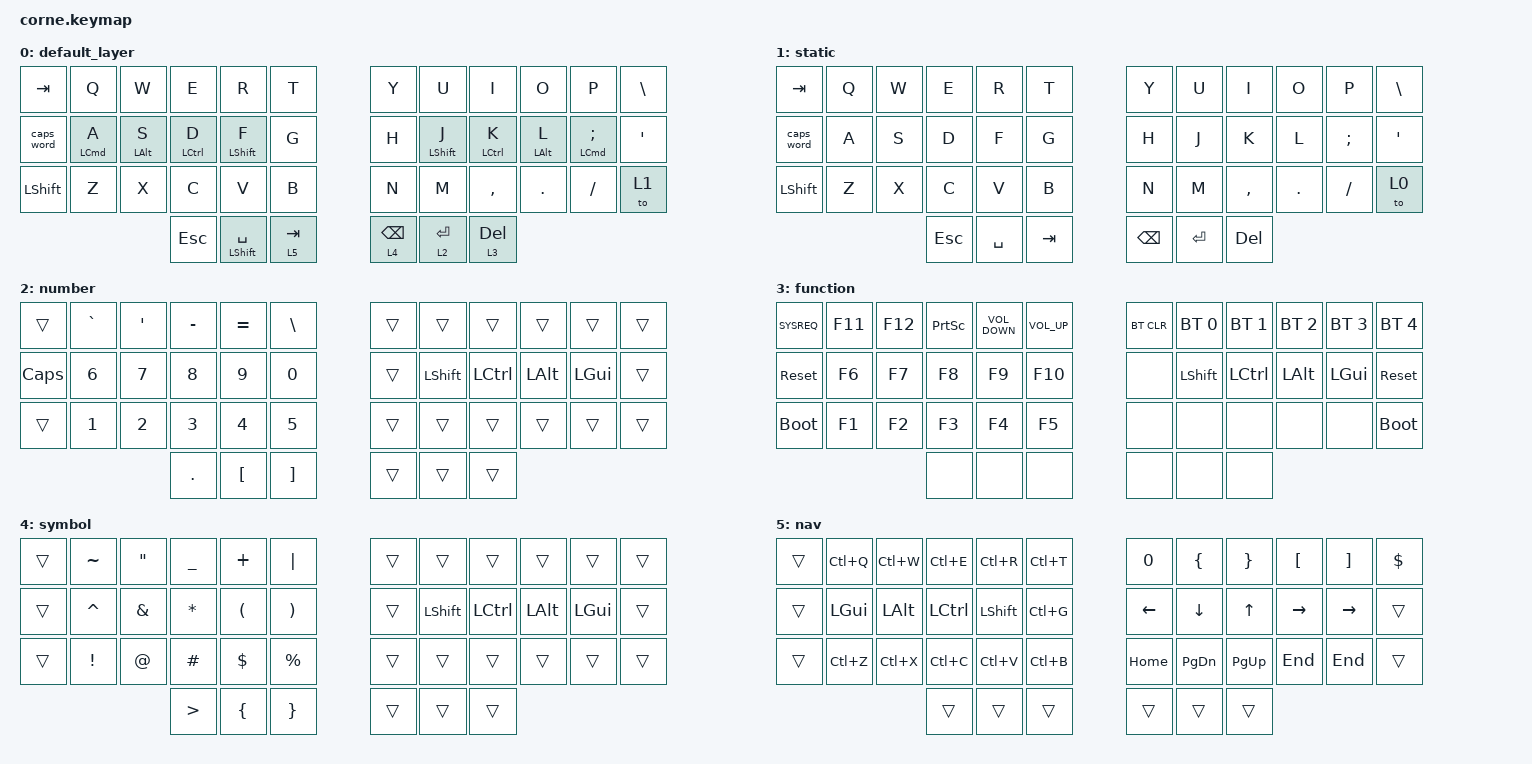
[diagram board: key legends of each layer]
/*
 * Copyright (c) 2020 The ZMK Contributors
 *
 * SPDX-License-Identifier: MIT
 */

#include <behaviors.dtsi>
#include <dt-bindings/zmk/bt.h>
#include <dt-bindings/zmk/keys.h>

/ {
    behaviors {
        hm: hm {
            compatible = "zmk,behavior-hold-tap";
            label = "HM";
            #binding-cells = <2>;
            bindings = <&kp>, <&kp>;

            tapping-term-ms = <200>;
            quick-tap-ms = <175>;
            require-prior-idle-ms = <150>;
            flavor = "balanced";
            hold-trigger-on-release;
        };
    };

    keymap {
        compatible = "zmk,keymap";

        default_layer {
            bindings = <
&kp TAB     &kp Q       &kp W           &kp E        &kp R            &kp T        &kp Y            &kp U        &kp I         &kp O           &kp P          &kp BACKSLASH
&caps_word  &hm LCMD A  &hm LEFT_ALT S  &hm LCTRL D  &hm LSHFT F      &kp G        &kp H            &hm LSHFT J  &hm LCTRL K   &hm LEFT_ALT L  &hm LCMD SEMI  &kp SQT
&kp LSHFT   &kp Z       &kp X           &kp C        &kp V            &kp B        &kp N            &kp M        &kp COMMA     &kp DOT         &kp FSLH       &to 1
                                        &kp ESCAPE   &hm LSHFT SPACE  &lt 5 TAB    &lt 4 BACKSPACE  &lt 2 ENTER  &lt 3 DELETE
            >;
        };

        static {
            bindings = <
&kp TAB     &kp Q  &kp W  &kp E       &kp R      &kp T      &kp Y          &kp U      &kp I       &kp O    &kp P     &kp BACKSLASH
&caps_word  &kp A  &kp S  &kp D       &kp F      &kp G      &kp H          &kp J      &kp K       &kp L    &kp SEMI  &kp SQT
&kp LSHFT   &kp Z  &kp X  &kp C       &kp V      &kp B      &kp N          &kp M      &kp COMMA   &kp DOT  &kp FSLH  &to 0
                          &kp ESCAPE  &kp SPACE  &kp TAB    &kp BACKSPACE  &kp ENTER  &kp DELETE
            >;
        };

        number {
            // -----------------------------------------------------------------------------------------
            // |  TAB |  1   |  2  |  3  |  4  |  5  |   |  6  |  7  |  8  |  9  |  0  | BKSP |
            // | BTCLR| BT1  | BT2 | BT3 | BT4 | BT5 |   | LFT | DWN |  UP | RGT |     |      |
            // | SHFT | BOOT |     |     |     |     |   |     |     |     |     |     | BOOT |
            //                    | GUI |     | SPC |   | ENT |     | ALT |

            bindings = <
&trans    &kp GRAVE  &kp SQT  &kp MINUS  &kp EQUAL  &kp BSLH    &trans  &trans     &trans     &trans    &trans    &trans
&kp CAPS  &kp N6     &kp N7   &kp N8     &kp N9     &kp N0      &trans  &kp LSHFT  &kp LCTRL  &kp LALT  &kp LGUI  &trans
&trans    &kp N1     &kp N2   &kp N3     &kp N4     &kp N5      &trans  &trans     &trans     &trans    &trans    &trans
                              &kp DOT    &kp LBKT   &kp RBKT    &trans  &trans     &trans
            >;
        };

        function {
            // -----------------------------------------------------------------------------------------
            // |  TAB |  !   |  @  |  #  |  $  |  %  |   |  ^  |  &  |  *  |  (  |  )  | BKSP |
            // | CTRL |      |     |     |     |     |   |  -  |  =  |  [  |  ]  |  \  |  `   |
            // | SHFT | BOOT |     |     |     |     |   |  _  |  +  |  {  |  }  | "|" | BOOT |
            //                    | GUI |     | SPC |   | ENT |     | ALT |

            bindings = <
&kp SYSREQ   &kp F11  &kp F12  &kp PRINTSCREEN  &kp C_VOLUME_DOWN  &kp C_VOLUME_UP    &bt BT_CLR  &bt BT_SEL 0  &bt BT_SEL 1  &bt BT_SEL 2  &bt BT_SEL 3  &bt BT_SEL 4
&sys_reset   &kp F6   &kp F7   &kp F8           &kp F9             &kp F10            &none       &kp LSHFT     &kp LCTRL     &kp LALT      &kp LGUI      &sys_reset
&bootloader  &kp F1   &kp F2   &kp F3           &kp F4             &kp F5             &none       &none         &none         &none         &none         &bootloader
                               &none            &none              &none              &none       &none         &none
            >;
        };

        symbol {
            bindings = <
&trans  &kp TILDE        &kp DOUBLE_QUOTES  &kp UNDERSCORE    &kp PLUS              &kp PIPE                 &trans  &trans     &trans     &trans    &trans    &trans
&trans  &kp CARET        &kp AMPERSAND      &kp ASTERISK      &kp LEFT_PARENTHESIS  &kp RIGHT_PARENTHESIS    &trans  &kp LSHFT  &kp LCTRL  &kp LALT  &kp LGUI  &trans
&trans  &kp EXCLAMATION  &kp AT_SIGN        &kp POUND         &kp DOLLAR            &kp PERCENT              &trans  &trans     &trans     &trans    &trans    &trans
                                            &kp GREATER_THAN  &kp LEFT_BRACE        &kp RIGHT_BRACE          &trans  &trans     &trans
            >;
        };

        nav {
            bindings = <
&trans  &kp LC(Q)  &kp LC(W)  &kp LC(E)  &kp LC(R)  &kp LC(T)    &kp N0    &kp LEFT_BRACE  &kp RIGHT_BRACE  &kp LBKT   &kp RBKT   &kp DOLLAR
&trans  &kp LGUI   &kp LALT   &kp LCTRL  &kp LSHFT  &kp LC(G)    &kp LEFT  &kp DOWN        &kp UP           &kp RIGHT  &kp RIGHT  &trans
&trans  &kp LC(Z)  &kp LC(X)  &kp LC(C)  &kp LC(V)  &kp LC(B)    &kp HOME  &kp PG_DN       &kp PG_UP        &kp END    &kp END    &trans
                              &trans     &trans     &trans       &trans    &trans          &trans
            >;
        };
    };
};
